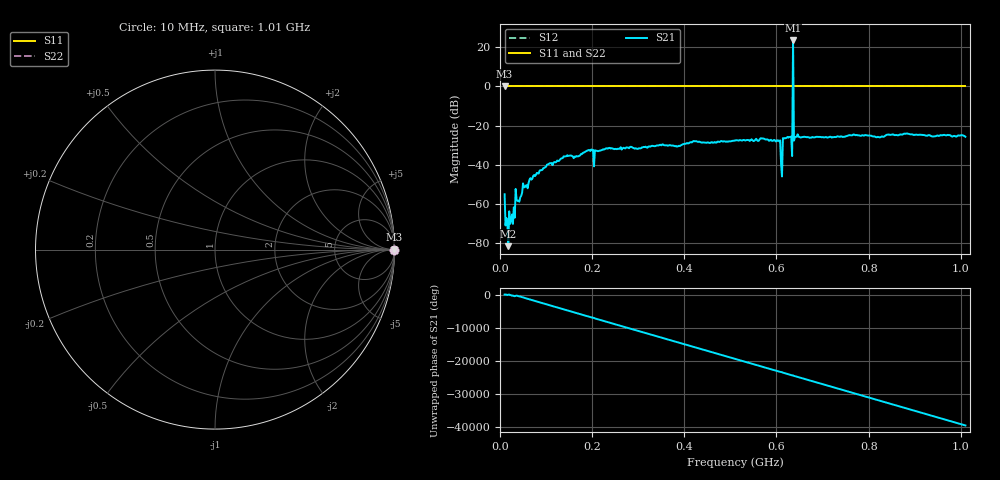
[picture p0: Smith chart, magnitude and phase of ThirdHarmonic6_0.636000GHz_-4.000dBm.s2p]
! 8/15/2025 9:00:27 PM
! C:\ANRITSUVNA\TEMP\TEMP.S2P
! CHANNEL.1
! TR.MEASUREMENT
! RAW.DATA
! RF.CORRECTION.OFF
! AVERAGING.OFF
! IF.BANDWIDTH: 5KHZ
! SWEEPTYPE:  FREQ.SWEEP(Linear)
! Reference Plane Port Info
! PORT:  PORT1  PORT2
! DISTANCE:  0  m  0  m
! TIME:  0  s  0  s
! PHASE.OFFSET:  0  deg.  0  deg.
! LOSS:  0  dB  0  dB
! REF.LOSS:  0  dB  0  dB
! REF.FREQ:  0  Hz  0  Hz
! Power Info
! POWER:  -20  dBm  -20  dBm
! EFF.POWER:  -20  dBm  -20  dBm
! SOURCE.ATTEN:  0  dB  0  dB
! TEST.ATTEN:  0  dB  0  dB
# GHZ S RI R 50.0
! FREQ.GHZ  S11RE  S11IM  S21RE  S21IM  S12RE  S12IM  S22RE  S22IM
!; PortSelection: Port_12
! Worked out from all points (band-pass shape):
!   501 points, 10 MHz to 1.01 GHz, reference 50 ohm
!   highest |S21| = 23.44 dB at 636 MHz (marker M1); lowest = -81.5 dB at 18 MHz (marker M2)
!   |S21| within 3 dB of the highest: 635.8983 MHz to 636.1173 MHz (219 kHz wide, 0.0344 % of centre)
!   lowest |S11| = 0.0 dB at 10 MHz (marker M3)
!   |S11| at or under -10 dB: nowhere
!   |S22| runs from 0.0 to 0.0 dB; largest |S21 - S12| = 16
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0.01  1 0  -0.00137 0.00112  1 0  1 0
0.014  1 0  -0.000318 0.000303  1 0  1 0
0.018  1 0  -4e-05 7.35e-05  1 0  1 0
0.028  1 0  -0.000283 -0.000126  1 0  1 0
0.038  1 0  -0.000454 0.0011  1 0  1 0
0.07  1 0  -0.00125 -0.00418  1 0  1 0
0.106  1 0  -0.00762 -0.00718  1 0  1 0
0.178  1 0  -0.0185 -0.00369  1 0  1 0
0.344  1 0  0.03 -0.00791  1 0  1 0
0.51  1 0  -0.0374 0.0175  1 0  1 0
0.604  1 0  0.0386 -0.0154  1 0  1 0
0.608  1 0  -0.0419 -0.00251  1 0  1 0
0.614  1 0  0.0264 -0.0399  1 0  1 0
0.618  1 0  -0.037 0.0304  1 0  1 0
0.63  1 0  0.049 0.016  1 0  1 0
0.632  1 0  0.0222 -0.0472  1 0  1 0
0.636  1 0  -14.86 0.0913  1 0  1 0
0.64  1 0  0.0435 -0.0268  1 0  1 0
0.642  1 0  -0.0194 -0.0477  1 0  1 0
0.678  1 0  -0.0277 -0.0429  1 0  1 0
0.844  1 0  0.0472 0.0354  1 0  1 0
1.01  1 0  -0.0515 -0.00598  1 0  1 0
